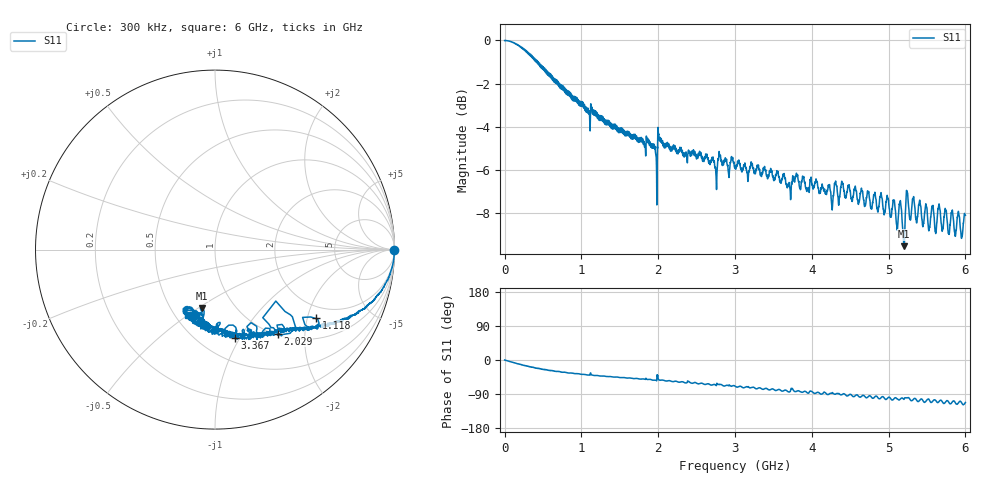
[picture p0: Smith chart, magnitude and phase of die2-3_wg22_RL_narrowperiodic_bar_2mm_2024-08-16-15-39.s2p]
!Keysight Technologies,P9374A,MY57304198,A.17.20.09
!Date: Friday, August 16, 2024 15:39:43
!Correction: S11(C  1-Port  )
!S21(C  1-Port  )
!S12(Off)
!S22(Off)
!S2P File: Measurements: S11, S21, S12, S22:
# Hz S  dB  R 50
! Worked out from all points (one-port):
!   6000 points, 300 kHz to 6 GHz, reference 50 ohm
!   lowest |S11| = -9.5 dB at 5.204 GHz (marker M1), VSWR 2.00, Z = 35.5 - j26 ohm
!   |S11| at or under -10 dB: nowhere
!   S11 on the Smith chart (normalised r, x): 300 kHz: open; 1.118 GHz: 1.61, -2.26; 2.029 GHz: 1.02, -1.46; 3.367 GHz: 0.72, -0.95; 6 GHz: 0.58, -0.50
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300000  -0.00 -0.0  -200.00 45.0  -200.00 45.0  -200.00 45.0
2.423282e8  -0.36 -13.3  -200.00 45.0  -200.00 45.0  -200.00 45.0
4.20349e8  -0.93 -21.4  -200.00 45.0  -200.00 45.0  -200.00 45.0
6.663777e8  -1.81 -29.6  -200.00 45.0  -200.00 45.0  -200.00 45.0
1.000417e9  -3.03 -37.9  -200.00 45.0  -200.00 45.0  -200.00 45.0
1.11843e9  -3.38 -34.0  -200.00 45.0  -200.00 45.0  -200.00 45.0
1.952528e9  -5.03 -53.2  -200.00 45.0  -200.00 45.0  -200.00 45.0
2.000533e9  -4.23 -49.9  -200.00 45.0  -200.00 45.0  -200.00 45.0
2.028537e9  -4.67 -53.3  -200.00 45.0  -200.00 45.0  -200.00 45.0
2.349574e9  -5.34 -60.1  -200.00 45.0  -200.00 45.0  -200.00 45.0
3.00065e9  -5.82 -69.2  -200.00 45.0  -200.00 45.0  -200.00 45.0
3.366693e9  -5.99 -77.5  -200.00 45.0  -200.00 45.0  -200.00 45.0
3.693731e9  -6.76 -83.9  -200.00 45.0  -200.00 45.0  -200.00 45.0
4.000767e9  -6.68 -83.2  -200.00 45.0  -200.00 45.0  -200.00 45.0
5.000883e9  -7.55 -98.2  -200.00 45.0  -200.00 45.0  -200.00 45.0
5.203907e9  -9.54 -102.2  -200.00 45.0  -200.00 45.0  -200.00 45.0
5.245912e9  -7.07 -99.8  -200.00 45.0  -200.00 45.0  -200.00 45.0
5.385928e9  -7.86 -109.7  -200.00 45.0  -200.00 45.0  -200.00 45.0
5.529945e9  -8.68 -105.6  -200.00 45.0  -200.00 45.0  -200.00 45.0
5.65696e9  -7.58 -109.9  -200.00 45.0  -200.00 45.0  -200.00 45.0
5.952995e9  -9.13 -113.8  -200.00 45.0  -200.00 45.0  -200.00 45.0
6e9  -8.11 -112.2  -200.00 45.0  -200.00 45.0  -200.00 45.0
